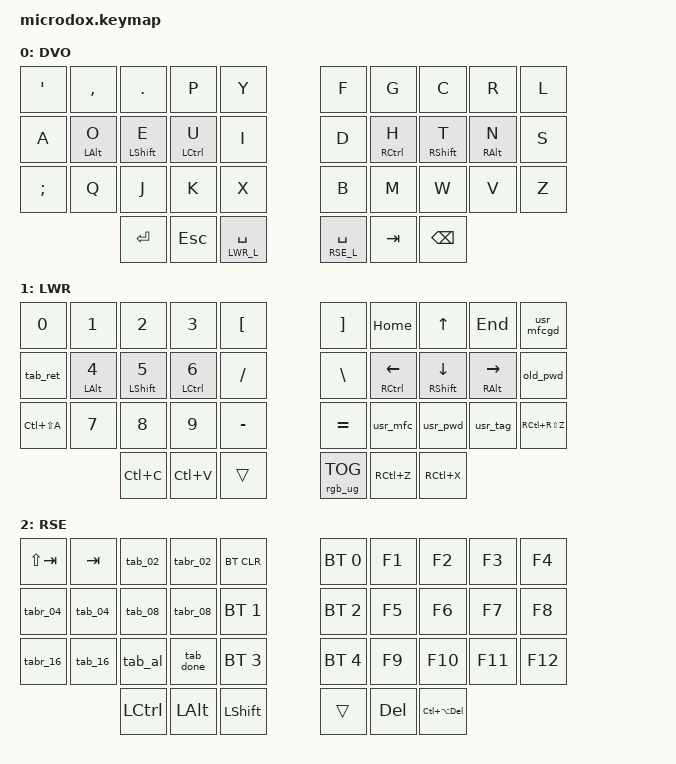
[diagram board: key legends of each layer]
/*
*
* Copyright (c) 2021 Darryl deHaan
* SPDX-License-Identifier: MIT
*
*/

#include <behaviors.dtsi>
#include <dt-bindings/zmk/keys.h>
#include <dt-bindings/zmk/bt.h>
#include <dt-bindings/zmk/rgb.h>

#define DEF_L 0
#define LWR_L 1
#define RSE_L 2


/ {
    macros {
        usr_pwd: usr_pwd {
            label = "User_Password";
            compatible = "zmk,behavior-macro";
            #binding-cells = <0>;
            wait-ms = <10>;
            tap-ms = <10>;
            bindings
                = <&macro_tap &kp J &kp O &kp N &kp Q &kp STAR &kp N1 &kp LS(L) &kp COLON>
                ;
        };
        usr_tag: usr_tag {
            label = "User_Name";
            compatible = "zmk,behavior-macro";
            #binding-cells = <0>;
            wait-ms = <10>;
            tap-ms = <10>;
            bindings
                = <&macro_tap &kp D &kp A &kp V &kp I &kp A &kp L &kp A>
                ;
        };
        usr_mfcgd: usr_mfcgd {
            label = "User_Mfcgd";
            compatible = "zmk,behavior-macro";
            #binding-cells = <0>;
            wait-ms = <10>;
            tap-ms = <10>;
            bindings
                = <&macro_tap &kp D &kp A &kp V &kp I &kp A &kp L &kp A &kp LS(N2) &kp M &kp F &kp C &kp G &kp D &kp DOT &kp C &kp O &kp M>
                ;
        };
        usr_mfc: usr_mfc {
            label = "User_Mfc";
            compatible = "zmk,behavior-macro";
            #binding-cells = <0>;
            wait-ms = <10>;
            tap-ms = <10>;
            bindings
                = <&macro_tap &kp A &kp L &kp E &kp X &kp A &kp N &kp D &kp E &kp R &kp UNDER &kp D &kp A &kp V &kp I &kp D &kp AT &kp M &kp A &kp N &kp U &kp L &kp I &kp F &kp E &kp DOT &kp C &kp A>
                ;
        };
        old_pwd: old_pwd {
            label = "Old_Password";
            compatible = "zmk,behavior-macro";
            #binding-cells = <0>;
            wait-ms = <10>;
            tap-ms = <10>;
            bindings
                = <&macro_tap &kp I &kp M &kp P &kp A &kp LS(V) &kp EXCL &kp N6 &kp SEMI>
                ;
        };
        tab_ret: tab_ret {
            label = "Tab_Return";
            compatible = "zmk,behavior-macro";
            #binding-cells = <0>;
            wait-ms = <40>;
            tap-ms = <40>;
            bindings
                = <&macro_tap &kp TAB &kp RET>
                ;
        };
        tab_02: tab_02  {
            label = "Tab_02";
            compatible = "zmk,behavior-macro";
            #binding-cells = <0>;
            wait-ms = <40>;
            tap-ms = <40>;
            bindings
                = <&macro_tap &kp TAB &kp TAB >
                ;
        };
        tab_04: tab_04  {
            label = "Tab_04";
            compatible = "zmk,behavior-macro";
            #binding-cells = <0>;
            wait-ms = <40>;
            tap-ms = <40>;
            bindings
                = <&macro_tap &kp TAB &kp TAB &kp TAB &kp TAB >
                ;
        };
        tab_08: tab_08  {
            label = "Tab_08";
            compatible = "zmk,behavior-macro";
            #binding-cells = <0>;
            wait-ms = <40>;
            tap-ms = <40>;
            bindings
                = <&macro_tap &kp TAB &kp TAB &kp TAB &kp TAB &kp TAB &kp TAB &kp TAB &kp TAB >
                ;
        };
        tab_16: tab_16  {
            label = "Tab_16";
            compatible = "zmk,behavior-macro";
            #binding-cells = <0>;
            wait-ms = <40>;
            tap-ms = <40>;
            bindings
                = <&macro_tap &kp TAB &kp TAB &kp TAB &kp TAB &kp TAB &kp TAB &kp TAB &kp TAB &kp TAB &kp TAB &kp TAB &kp TAB &kp TAB &kp TAB &kp TAB &kp TAB >
                ;
        };
        tab_al: tab_al  {
            label = "Tab_al";
            compatible = "zmk,behavior-macro";
            #binding-cells = <0>;
            wait-ms = <40>;
            tap-ms = <40>;
            bindings
                = <&macro_tap &kp A &kp L &kp RET >
                ;
        };
        tabr_02: tabr_02  {
            label = "Tabr_02";
            compatible = "zmk,behavior-macro";
            #binding-cells = <0>;
            wait-ms = <40>;
            tap-ms = <40>;
            bindings
                = <&macro_tap &kp LS(TAB) &kp LS(TAB) >
                ;
        };
        tabr_04: tabr_04  {
            label = "Tabr_04";
            compatible = "zmk,behavior-macro";
            #binding-cells = <0>;
            wait-ms = <40>;
            tap-ms = <40>;
            bindings
                = <&macro_tap &kp LS(TAB) &kp LS(TAB) &kp LS(TAB) &kp LS(TAB) >
                ;
        };
        tabr_08: tabr_08  {
            label = "Tabr_08";
            compatible = "zmk,behavior-macro";
            #binding-cells = <0>;
            wait-ms = <40>;
            tap-ms = <40>;
            bindings
                = <&macro_tap &kp LS(TAB) &kp LS(TAB) &kp LS(TAB) &kp LS(TAB) &kp LS(TAB) &kp LS(TAB) &kp LS(TAB) &kp LS(TAB) >
                ;
        };
        tabr_16: tabr_16  {
            label = "Tabr_16";
            compatible = "zmk,behavior-macro";
            #binding-cells = <0>;
            wait-ms = <40>;
            tap-ms = <40>;
            bindings
                = <&macro_tap &kp LS(TAB) &kp LS(TAB) &kp LS(TAB) &kp LS(TAB) &kp LS(TAB) &kp LS(TAB) &kp LS(TAB) &kp LS(TAB) >
                , <&macro_tap &kp LS(TAB) &kp LS(TAB) &kp LS(TAB) &kp LS(TAB) &kp LS(TAB) &kp LS(TAB) &kp LS(TAB) &kp LS(TAB) >
                ;
        };
        tab_done: tab_done  {
            label = "Tab_Done";
            compatible = "zmk,behavior-macro";
            #binding-cells = <0>;
            wait-ms = <40>;
            tap-ms = <40>;
            bindings
                = <&macro_tap &kp D &kp O &kp N &kp E>
                ;
        };
    };
};


/ {
    keymap {
        compatible = "zmk,keymap";

        default_layer {
            label = "DVO";
            bindings = <
                &kp SQT        &kp COMMA      &kp DOT        &kp P          &kp Y              &kp F          &kp G          &kp C          &kp R          &kp L
                &kp A          &mt LALT O     &mt LSHFT E    &mt LCTRL U    &kp I              &kp D          &mt RCTRL H    &mt RSHFT T    &mt RALT N     &kp S
                &kp SEMI       &kp Q          &kp J          &kp K          &kp X              &kp B          &kp M          &kp W          &kp V          &kp Z
                                              &kp RET        &kp ESC      &lt LWR_L SPACE     &lt RSE_L SPACE &kp TAB        &kp BSPC
            >;
        };
        lower_layer {
            label = "LWR";
            bindings = <
                &kp N0         &kp N1         &kp N2         &kp N3         &kp LBKT           &kp RBKT       &kp HOME       &kp UP         &kp END         &usr_mfcgd
                &tab_ret       &mt LALT N4    &mt LSHFT N5   &mt LCTRL N6   &kp FSLH           &kp BSLH       &mt RCTRL LEFT &mt RSHFT DOWN &mt RALT RIGHT  &old_pwd
                &kp LC(LS(A))  &kp N7         &kp N8         &kp N9         &kp MINUS          &kp EQUAL      &usr_mfc       &usr_pwd       &usr_tag        &kp RC(RS(Z))
                                              &kp LC(C)      &kp LC(V)      &trans            &rgb_ug RGB_TOG &kp RC(Z)      &kp RC(X)
            >;
        };
        raise_layer {
            label = "RSE";
            bindings = <
                &kp LS(TAB)    &kp TAB        &tab_02        &tabr_02       &bt BT_CLR         &bt BT_SEL 0   &kp F1         &kp F2         &kp F3          &kp F4
                &tabr_04       &tab_04        &tab_08        &tabr_08       &bt BT_SEL 1       &bt BT_SEL 2   &kp F5         &kp F6         &kp F7          &kp F8
                &tabr_16       &tab_16        &tab_al        &tab_done      &bt BT_SEL 3       &bt BT_SEL 4   &kp F9         &kp F10        &kp F11         &kp F12
                                              &kp LCTRL      &kp LALT       &kp LSHFT          &trans         &kp DEL        &kp LC(LA(DEL))
            >;
        };
    };
};
